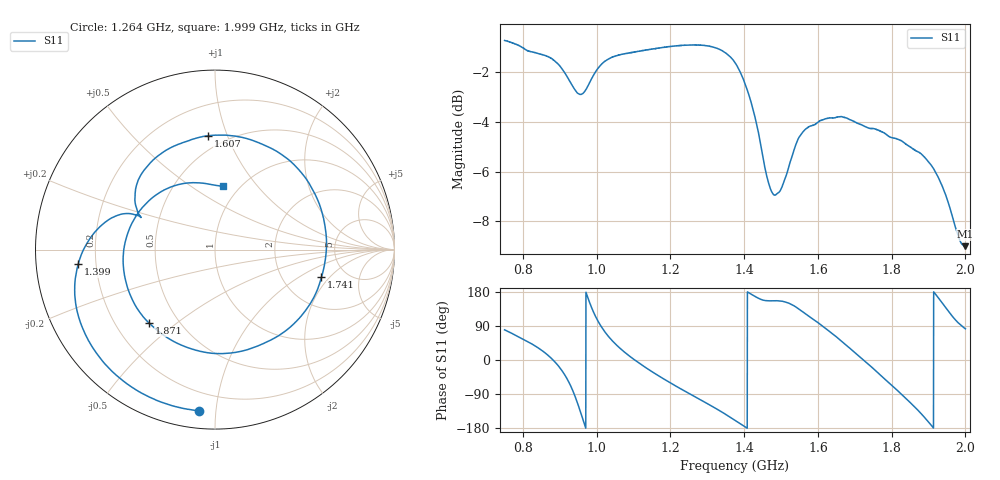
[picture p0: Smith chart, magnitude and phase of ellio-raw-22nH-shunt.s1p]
!Keysight Technologies,P9371A,MY57212015,A.15.65.19
!Date: Monday, November 07, 2022 15:14:39
!Correction: S11(C  1-Port  )
!S1P File: Measurement: S11:
# Hz S  dB  R 50
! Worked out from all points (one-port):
!   2601 points, 750 MHz to 2 GHz, reference 50 ohm
!   lowest |S11| = -9.0 dB at 2 GHz (marker M1), VSWR 2.10, Z = 42.4 + j34.1 ohm
!   |S11| at or under -10 dB: nowhere
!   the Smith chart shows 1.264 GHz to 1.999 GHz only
!   S11 on the Smith chart (normalised r, x): 1.264 GHz: 0.09, -0.90; 1.399 GHz: 0.13, -0.05; 1.607 GHz: 0.40, +0.86; 1.741 GHz: 3.29, -1.63; 1.871 GHz: 0.34, -0.40; 1.999 GHz: 0.84, +0.68
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7.5e8  -0.71 79.6
8.389423e8  -1.23 33.4
8.783653e8  -1.45 2.9
9.062499e8  -1.87 -29.1
9.418268e8  -2.72 -97.8
9.586537e8  -2.87 -145.5
9.716345e8  -2.66 176.0
9.899037e8  -2.14 129.2
1.007211e9  -1.76 96.0
1.0625e9  -1.29 31.4
1.129808e9  -1.11 -18.1
1.21875e9  -0.92 -71.1
1.263942e9  -0.89 -95.7
1.318269e9  -0.99 -125.3
1.375e9  -1.60 -159.1
1.398557e9  -2.31 -174.0
1.468269e9  -6.57 156.1
1.53125e9  -5.31 145.1
1.607211e9  -3.93 93.4
1.6875e9  -3.91 30.1
1.740865e9  -4.26 -14.6
1.793269e9  -4.58 -60.8
1.843749e9  -4.94 -106.3
1.870673e9  -5.19 -131.9
1.920673e9  -6.07 171.6
1.956249e9  -7.37 125.7
1.999038e9  -9.00 83.0
1.999999e9  -9.00 82.3
